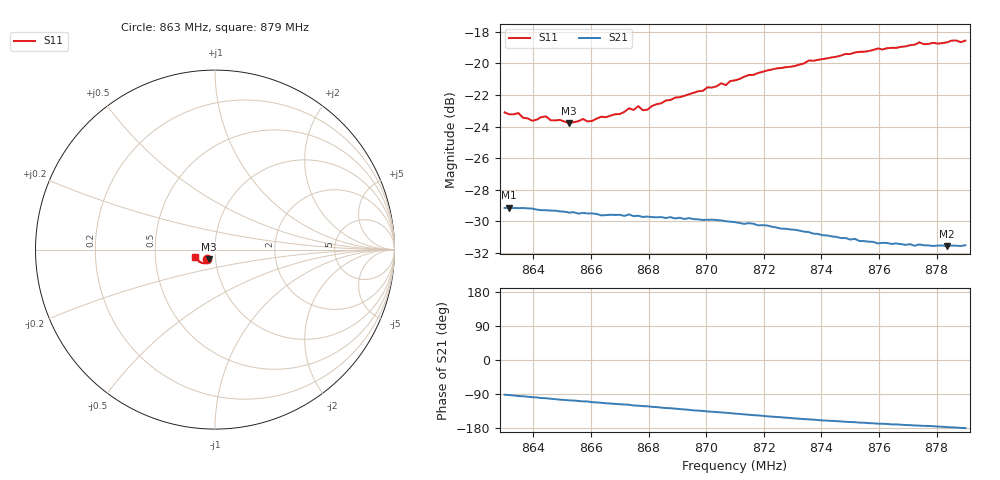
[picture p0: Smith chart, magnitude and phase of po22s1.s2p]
# HZ S RI R 50
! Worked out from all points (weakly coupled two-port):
!   101 points, 863 MHz to 879 MHz, reference 50 ohm
!   highest |S21| = -29.12 dB at 863.16 MHz (marker M1); lowest = -31.6 dB at 878.36 MHz (marker M2)
!   lowest |S11| = -23.8 dB at 865.24 MHz (marker M3), VSWR 1.14, Z = 46.3 - j5.04 ohm
!   |S11| at or under -10 dB: start of sweep to end of sweep
!   S12 and S22 are empty: the file has one direction only
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8.63e8  -0.0458 -0.0529  -0.00104 -0.0349  0 0  0 0
8.6316e8  -0.0437 -0.0534  -0.00151 -0.035  0 0  0 0
8.6348e8  -0.0446 -0.0535  -0.00312 -0.0347  0 0  0 0
8.6396e8  -0.0396 -0.0526  -0.00486 -0.0344  0 0  0 0
8.6444e8  -0.0411 -0.0541  -0.00649 -0.0337  0 0  0 0
8.646e8  -0.0377 -0.0542  -0.00719 -0.0335  0 0  0 0
8.6524e8  -0.0353 -0.0542  -0.00955 -0.0323  0 0  0 0
8.6572e8  -0.0346 -0.057  -0.0111 -0.0318  0 0  0 0
8.6604e8  -0.0331 -0.0569  -0.0122 -0.0312  0 0  0 0
8.67e8  -0.0338 -0.0603  -0.0149 -0.0296  0 0  0 0
8.6732e8  -0.0347 -0.0632  -0.0157 -0.0294  0 0  0 0
8.6748e8  -0.0342 -0.0625  -0.0164 -0.0285  0 0  0 0
8.6764e8  -0.0356 -0.064  -0.0167 -0.0284  0 0  0 0
8.678e8  -0.0347 -0.062  -0.0172 -0.0278  0 0  0 0
8.6796e8  -0.0335 -0.0631  -0.0175 -0.0277  0 0  0 0
8.6844e8  -0.0353 -0.0659  -0.019 -0.0266  0 0  0 0
8.71e8  -0.0469 -0.0749  -0.0246 -0.0196  0 0  0 0
8.7372e8  -0.0686 -0.0753  -0.0267 -0.0111  0 0  0 0
8.7644e8  -0.0933 -0.0619  -0.0264 -0.0047  0 0  0 0
8.774e8  -0.1027 -0.0552  -0.0266 -0.00319  0 0  0 0
8.7836e8  -0.1073 -0.0452  -0.0264 -0.00136  0 0  0 0
8.79e8  -0.1114 -0.0391  -0.0266 -5.9e-05  0 0  0 0
